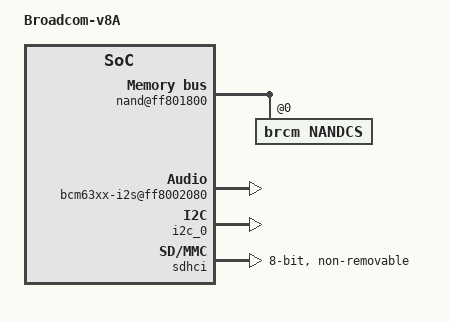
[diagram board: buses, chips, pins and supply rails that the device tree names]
#include <dt-bindings/interrupt-controller/arm-gic.h>
#include <dt-bindings/interrupt-controller/irq.h>
#include <dt-bindings/soc/bcm963xx_dt_bindings.h> 

#define GIC_DIST_BASE	0x81001000
#define GIC_CPUI_BASE	0x81002000

#define TIMER_HYP_PPI			10
#define TIMER_VIRT_PPI			11
#define TIMER_PHYS_SECURE_PPI		13
#define TIMER_PHYS_NONSECURE_PPI	14

#define PMU_CORE0_SPI			9
#define PMU_CORE1_SPI			10
#define SDIO_EMMC_SPI           95

#define DEVICE_TREE
#include "../../../shared/opensource/include/pmc/pmc_firmware_68560.h"
#undef DEVICE_TREE

/dts-v1/;

/memreserve/ 0x00000000 0x00020000;
/* For PMC3 firmware */
/memreserve/ PMC3_RESERVED_MEM_START PMC3_RESERVED_MEM_SIZE;

/ {
    model = "Broadcom-v8A";
    compatible = "brcm,brcm-v8A";
    interrupt-parent = <&gic>;
    #address-cells = <2>;
    #size-cells = <2>;

	cpus {
		#address-cells = <2>;
		#size-cells = <0>;

		B53_0: cpu@0 {
			device_type = "cpu";
			compatible = "arm,cortex-a53";
			reg = <0x0 0x0>;
			next-level-cache = <&L2_0>;
		};
		B53_1: cpu@1 {
			device_type = "cpu";
			compatible = "arm,cortex-a53";
			reg = <0x0 0x1>;
			enable-method = "spin-table";
			cpu-release-addr = <0x0 0xfff8>;
			next-level-cache = <&L2_0>;
		};
		L2_0: l2-cache0 {
			compatible = "cache";
		};
	};

	gic: interrupt-controller@81000000 {
		compatible = "arm,cortex-a15-gic", "arm,cortex-a9-gic";
		#interrupt-cells = <3>;
		#address-cells = <0>;
		interrupt-controller;
		reg = <0x0 GIC_DIST_BASE 0 0x1000>,
		      <0x0 GIC_CPUI_BASE 0 0x2000>;
	};

	timer {
		compatible = "arm,armv8-timer";
		interrupts = <GIC_PPI TIMER_PHYS_SECURE_PPI    (GIC_CPU_MASK_SIMPLE(4) | IRQ_TYPE_LEVEL_LOW)>,
			     <GIC_PPI TIMER_PHYS_NONSECURE_PPI (GIC_CPU_MASK_SIMPLE(4) | IRQ_TYPE_LEVEL_LOW)>,
			     <GIC_PPI TIMER_VIRT_PPI           (GIC_CPU_MASK_SIMPLE(4) | IRQ_TYPE_LEVEL_LOW)>,
			     <GIC_PPI TIMER_HYP_PPI            (GIC_CPU_MASK_SIMPLE(4) | IRQ_TYPE_LEVEL_LOW)>;
	};

	pmu {
		compatible = "arm,armv8-pmuv3";
		interrupts = <GIC_SPI PMU_CORE0_SPI IRQ_TYPE_LEVEL_HIGH>,
			     <GIC_SPI PMU_CORE1_SPI IRQ_TYPE_LEVEL_HIGH>;
		interrupt-affinity = <&B53_0> ,<&B53_1>;
	};
	
	brcm-legacy {
		compatible = "brcm,brcm-legacy";
	};

	memory@00000000 {
		device_type = "memory";
		reg = <0x00000000 DRAM_BASE 0x0 DRAM_DEF_SIZE>;  /* 64MBMB */
	};

    /* according to inclusion rules of device tree */
    reserved-memory {
        #address-cells = <2>;
		#size-cells = <2>;
		ranges;

#if defined (CONFIG_BCM_RDPA)        
        dt_reserved_fpm_pool {
            reg = <0x00000000 DRAM_OFFSET_RDP_PARAM1 0x0 RDP_PARAM1_DDR_SIZE>; /* 32MB */
            no-map;
        };
        dt_reserved_rnr_tbls {
            reg = <0x00000000 DRAM_OFFSET_RDP_PARAM2 0x0 RDP_PARAM2_DDR_SIZE>; /* 8MB */
            no-map;
        };
#if defined (CONFIG_BCM_DHD_RUNNER)        
        dt_reserved_dhd0 {
            reg = <0x00000000 0x0 0x0 DHD_PARAM1_DDR_SIZE>;
            no-map;
        };
        dt_reserved_dhd1 {
            reg = <0x00000000 0x0 0x0 DHD_PARAM2_DDR_SIZE>;
            no-map;
        };
        dt_reserved_dhd2 {
            reg = <0x00000000 0x0 0x0 DHD_PARAM3_DDR_SIZE>;
            no-map;
        };
#endif                
#endif                
    };

	/* Legacy UBUS base */
	ubus@ff800000 {
		compatible = "simple-bus";
		#address-cells = <2>;
		#size-cells = <2>;
		ranges = <0x0 0x0 0x0 0xff800000 0x0 0x62000>;

		nand@ff801800 {
			#address-cells = <1>;
			#size-cells = <0>;
			compatible = "brcm,nand-bcm63xx", "brcm,brcmnand-v7.1";
			reg = <0x0 0x1800 0x0 0x600>, <0x0 0x2000 0x0 0x10>;
			reg-names = "nand", "nand-int-base";
			status = "okay";

			nandcs@0 {
				compatible = "brcm,nandcs";
				reg = <0>;
				nand-on-flash-bbt;
			};

		};

		watchdog@ff800428 {
			compatible = "brcm,bcm96xxx-wdt";
			reg = <0x0 0x428 0x0 0x10>;
			timeout-sec = <80>;
		};

		bcm63xx-i2s@ff8002080 {
			compatible = "brcm,bcm63xx-i2s";
			reg = <0 0x880 0 0x21>; 
		};

		i2c_0: i2c@ff802100 {
			compatible = "brcm,bcm63000-i2c";
			reg = <0x0 0x2100 0x0 0x60>;
		};

		sdhci: sdhci@ff858000 {
		    compatible = "brcm,bcm63xx-sdhci";
		   	reg = <0x00000000 0x58000 0x00000000 0x100>;
			interrupts = <GIC_SPI SDIO_EMMC_SPI IRQ_TYPE_LEVEL_HIGH>;
			bus-width = <8>;
			non-removable;
#ifdef EMMC_DDR_1_8V 
			mmc-ddr-1_8v;
#endif
	};

	};

	pcm5100 {
		compatible = "brcm,pcm5100";
	};

	bcm63xx-pcm-audio {
		compatible = "brcm,bcm63xx-pcm-audio";
		interrupts = <GIC_SPI 84 IRQ_TYPE_LEVEL_HIGH>;
	};

    /* increase coherent_pool size */
	chosen {
		bootargs = "coherent_pool=4M cpuidle_sysfs_switch pci=pcie_bus_safe";
	};
};



